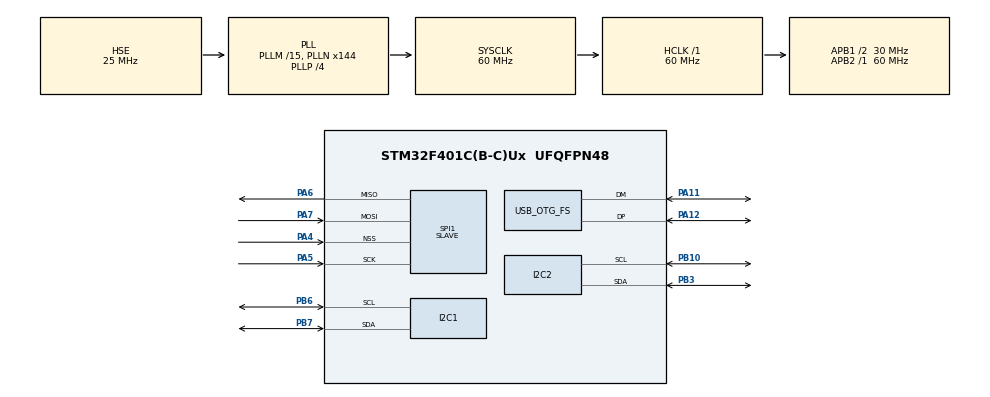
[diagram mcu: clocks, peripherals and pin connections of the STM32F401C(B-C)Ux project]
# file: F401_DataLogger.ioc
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FREERTOS.Tasks01=testTask,24,512,StartTestTask,Default,NULL,Dynamic,NULL,NULL
I2C1.I2C_Mode=I2C_Standard
I2C2.I2C_Mode=I2C_Standard
Mcu.Family=STM32F4
Mcu.Name=STM32F401C(B-C)Ux
Mcu.Package=UFQFPN48
NVIC.OTG_FS_IRQn=true\:5\:0\:false\:false\:true\:true\:false\:true\:true
NVIC.PriorityGroup=NVIC_PRIORITYGROUP_4
NVIC.SPI1_IRQn=true\:5\:0\:false\:false\:true\:true\:true\:true\:true
NVIC.TIM5_IRQn=true\:15\:0\:false\:false\:true\:false\:false\:true\:true
NVIC.TimeBase=TIM5_IRQn
NVIC.TimeBaseIP=TIM5
PA11.Mode=Device_Only
PA11.Signal=USB_OTG_FS_DM
PA12.Mode=Device_Only
PA12.Signal=USB_OTG_FS_DP
PA13.Mode=Serial_Wire
PA13.Signal=SYS_JTMS-SWDIO
PA14.Mode=Serial_Wire
PA14.Signal=SYS_JTCK-SWCLK
PA4.Mode=NSS_Signal_Hard_Input
PA4.Signal=SPI1_NSS
PA5.Mode=Full_Duplex_Slave
PA5.Signal=SPI1_SCK
PA6.Mode=Full_Duplex_Slave
PA6.Signal=SPI1_MISO
PA7.Mode=Full_Duplex_Slave
PA7.Signal=SPI1_MOSI
PB10.Mode=I2C
PB10.Signal=I2C2_SCL
PB3.Mode=I2C
PB3.Signal=I2C2_SDA
PB6.Mode=I2C
PB6.Signal=I2C1_SCL
PB7.Mode=I2C
PB7.Signal=I2C1_SDA
PH0\ -\ OSC_IN.Mode=HSE-External-Oscillator
PH0\ -\ OSC_IN.Signal=RCC_OSC_IN
PH1\ -\ OSC_OUT.Mode=HSE-External-Oscillator
PH1\ -\ OSC_OUT.Signal=RCC_OSC_OUT
ProjectManager.HeapSize=0x200
ProjectManager.StackSize=0x400
ProjectManager.TargetToolchain=Makefile
RCC.48MHZClocksFreq_Value=48000000
RCC.AHBFreq_Value=60000000
RCC.APB1CLKDivider=RCC_HCLK_DIV2
RCC.APB1Freq_Value=30000000
RCC.APB1TimFreq_Value=60000000
RCC.APB2Freq_Value=60000000
RCC.APB2TimFreq_Value=60000000
RCC.CortexFreq_Value=60000000
RCC.HCLKFreq_Value=60000000
RCC.HSE_VALUE=25000000
RCC.HSI_VALUE=16000000
RCC.LSE_VALUE=32768
RCC.PLLM=15
RCC.PLLN=144
RCC.PLLP=RCC_PLLP_DIV4
RCC.PLLQ=5
RCC.SYSCLKFreq_VALUE=60000000
RCC.SYSCLKSource=RCC_SYSCLKSOURCE_PLLCLK
RCC.VCOOutputFreq_Value=240000000
SPI1.Direction=SPI_DIRECTION_2LINES
SPI1.Mode=SPI_MODE_SLAVE
SPI1.VirtualNSS=VM_NSSHARD
SPI1.VirtualType=VM_SLAVE
USB_DEVICE.CLASS_NAME_FS=CDC
USB_DEVICE.VirtualMode=Cdc
USB_DEVICE.VirtualModeFS=Cdc_FS
USB_OTG_FS.VirtualMode=Device_Only
VP_FREERTOS_VS_CMSIS_V2.Mode=CMSIS_V2
VP_SYS_VS_tim5.Mode=TIM5
VP_USB_DEVICE_VS_USB_DEVICE_CDC_FS.Mode=CDC_FS
board=custom

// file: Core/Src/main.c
/* USER CODE BEGIN Header */
/**
  ******************************************************************************
  * @file           : main.c
  * @brief          : MPU6050 + USB CDC + FreeRTOS minimal stable baseline
  ******************************************************************************
  */
/* USER CODE END Header */
#include "main.h"
#include "cmsis_os.h"  //CMSIS-RTOS介面標頭檔
#include "i2c.h"
#include "spi.h"
#include "usb_device.h"
#include "gpio.h"

/* USER CODE BEGIN Includes */
#include <stdio.h>
#include "usbd_core.h" //USB Device 核心層的介面
#include "usbd_cdc_if.h" //USB CDC(Communication Device Class) 類別的使用者介面
#include "mpu6050_driver.h"
/* USER CODE END Includes */

/* USER CODE BEGIN PD */
//板子 LED 是 Active Low
#define TEST_LED_PORT       GPIOC           //GPIO Port C
#define TEST_LED_PIN        GPIO_PIN_13     //GPIO Pin 13 (Test LED)
#define TEST_LED_ON         GPIO_PIN_RESET  //Low  → LED 亮
#define TEST_LED_OFF        GPIO_PIN_SET    //High → LED 熄滅
/* USER CODE END PD */

/* USER CODE BEGIN PV */
//  USB Device 的控制結構型別
extern USBD_HandleTypeDef hUsbDeviceFS;
/* USER CODE END PV */

//設定 STM32 的系統時鐘
void SystemClock_Config(void);
//初始化 FreeRTOS 定義在freertos.c
void MX_FREERTOS_Init(void);
/* USER CODE BEGIN PFP */
//初始化 PC13 LED
static void TestLED_Init(void);
//在 Error_Handler() 裡，讓 LED 閃爍時產生間隔
static void BusyDelay(volatile uint32_t count);
/* USER CODE END PFP */

/* USER CODE BEGIN 0 */

/**
  * @brief  將 printf() 的輸出重新導向到 USB CDC (Virtual COM Port)，讓 printf() 能透過 USB 傳到電腦。
  *
  * 注意事項：
  * - USB 尚未完成枚舉 (Enumeration) 時，不會等待，而是直接丟棄此次輸出。
  * - FreeRTOS Scheduler 已啟動時，若 USB 忙碌 (BUSY)，會使用 osDelay() 在 USB 忙碌時暫時讓出 CPU。
  * - Scheduler 尚未啟動時，不會等待 USB 空閒，以避免系統卡住。
  */
int _write(int file, char *ptr, int len) {
    // 告訴編譯器這個參數我故意不用，不要警告我。
    (void)file;

    //檢查資料是否合法
    if ((ptr == NULL) || (len <= 0)) {
        return 0;
    }

    //檢查 USB 是否已完成連線
    if (hUsbDeviceFS.dev_state != USBD_STATE_CONFIGURED) {
        return len;
    }
    //最多重試 100 次
    for (uint32_t retry = 0U; retry < 100U; retry++) {
      //嘗試透過 USB 傳送
      if (CDC_Transmit_FS((uint8_t *)ptr, (uint16_t)len) == USBD_OK) {
        return len;
      }
      //Scheduler 是否已啟動
      if (osKernelGetState() == osKernelRunning) {
        osDelay(1U);
      } else {
        /*
          * Scheduler 尚未啟動時，不使用 HAL_Delay() 等待，
          * 避免在 RTOS 初始化期間造成阻塞，因此直接放棄此次輸出。
          */
        return len;
      }
    }
    /* 超過重試次數仍無法傳送，直接放棄此次輸出，避免 Task 被卡住。 */
    return len;
}

/**
  * @brief  初始化 PC13 LED
  */
static void TestLED_Init(void) {
  //初始化
  GPIO_InitTypeDef GPIO_InitStruct = {0};
  //開啟 GPIOC 時鐘
  __HAL_RCC_GPIOC_CLK_ENABLE();

  GPIO_InitStruct.Pin = TEST_LED_PIN;
  GPIO_InitStruct.Mode = GPIO_MODE_OUTPUT_PP;   //推挽輸出模式
  GPIO_InitStruct.Pull = GPIO_NOPULL;           //不使用上拉或下拉電阻
  GPIO_InitStruct.Speed = GPIO_SPEED_FREQ_LOW;  //低速率輸出
  //初始化 GPIOC Pin 13 為推挽輸出模式 PC13 以後要當 GPIO 輸出使用
  HAL_GPIO_Init(TEST_LED_PORT, &GPIO_InitStruct);
  //這腳位現輸出什麼電位 現在立刻把 PC13 輸出 High(熄滅)
  HAL_GPIO_WritePin(TEST_LED_PORT, TEST_LED_PIN, TEST_LED_OFF);
}

/**
  * @brief  在 Error_Handler() 裡，讓 LED 閃爍時產生間隔
  */
static void BusyDelay(volatile uint32_t count) {
  while (count > 0U) {
    //不做任何事情的 CPU 指令
      __NOP();
      count--;
  }
}
/* USER CODE END 0 */

int main(void)
{

  /* MCU Configuration--------------------------------------------------------*/

  /* Reset of all peripherals, Initializes the Flash interface and the Systick. */
  HAL_Init();

  /* Configure the system clock */
  SystemClock_Config();

  /* Initialize all configured peripherals */
  MX_GPIO_Init();
  MX_I2C1_Init();
  MX_I2C2_Init();
  MX_SPI1_Init();
  // Initialize USB Device
  MX_USB_DEVICE_Init();
  /* USER CODE BEGIN 2 */
    /*
    * PC13 heartbeat/error LED initialization.
    * Kept in USER CODE so CubeMX regeneration will not remove it.
    */
    TestLED_Init();

    /*
    * Initialize MPU6050 before starting FreeRTOS.
    * Do not print here because USB enumeration may not be complete.
    */
    HAL_StatusTypeDef imu_init_status = MPU6050_Init(&hi2c1);
    if (imu_init_status != HAL_OK)
    {
      printf(
        "MPU6050 init failed: status=%d, i2c_error=0x%08lX\r\n",
        (int)imu_init_status,
        (unsigned long)HAL_I2C_GetError(&hi2c1)
      );

      Error_Handler();
    }
  /* USER CODE END 2 */

  /* Init scheduler */
  osKernelInitialize();   //建立 RTOS
  MX_FREERTOS_Init();     //建立所有 Task

  /* Start scheduler */
  osKernelStart();        //開始執行 Task

  /* We should never get here as control is now taken by the scheduler */

  /* Infinite loop */
  /* USER CODE BEGIN WHILE */
  while (1) {
    /*
    * 到這了代表osKernelStart()啟動是失敗
    */
    Error_Handler();
  }
  /* USER CODE END WHILE */

}

/**
  * @brief  設定 STM32 的系統時鐘
  */
void SystemClock_Config(void)
{
  RCC_OscInitTypeDef RCC_OscInitStruct = {0};
  RCC_ClkInitTypeDef RCC_ClkInitStruct = {0};

  /** Configure the main internal regulator output voltage
  */
  __HAL_RCC_PWR_CLK_ENABLE();
  __HAL_PWR_VOLTAGESCALING_CONFIG(PWR_REGULATOR_VOLTAGE_SCALE2);

  /** Initializes the RCC Oscillators according to the specified parameters
  * in the RCC_OscInitTypeDef structure.
  */
  RCC_OscInitStruct.OscillatorType = RCC_OSCILLATORTYPE_HSE;
  RCC_OscInitStruct.HSEState = RCC_HSE_ON;
  RCC_OscInitStruct.PLL.PLLState = RCC_PLL_ON;
  RCC_OscInitStruct.PLL.PLLSource = RCC_PLLSOURCE_HSE;
  RCC_OscInitStruct.PLL.PLLM = 15;
  RCC_OscInitStruct.PLL.PLLN = 144;
  RCC_OscInitStruct.PLL.PLLP = RCC_PLLP_DIV4;
  RCC_OscInitStruct.PLL.PLLQ = 5;
  if (HAL_RCC_OscConfig(&RCC_OscInitStruct) != HAL_OK)
  {
    Error_Handler();
  }

  /** Initializes the CPU, AHB and APB buses clocks
  */
  RCC_ClkInitStruct.ClockType = RCC_CLOCKTYPE_HCLK|RCC_CLOCKTYPE_SYSCLK
                              |RCC_CLOCKTYPE_PCLK1|RCC_CLOCKTYPE_PCLK2;
  RCC_ClkInitStruct.SYSCLKSource = RCC_SYSCLKSOURCE_PLLCLK;
  RCC_ClkInitStruct.AHBCLKDivider = RCC_SYSCLK_DIV1;
  RCC_ClkInitStruct.APB1CLKDivider = RCC_HCLK_DIV2;
  RCC_ClkInitStruct.APB2CLKDivider = RCC_HCLK_DIV1;

  if (HAL_RCC_ClockConfig(&RCC_ClkInitStruct, FLASH_LATENCY_1) != HAL_OK)
  {
    Error_Handler();
  }
}

//如果是 TIM5 的更新中斷，就呼叫 HAL_IncTick() 提供 HAL 的時間基準
void HAL_TIM_PeriodElapsedCallback(TIM_HandleTypeDef *htim)
{
  if (htim->Instance == TIM5)
  {
    HAL_IncTick();
  }
}

void Error_Handler(void)
{
  /* USER CODE BEGIN Error_Handler_Debug */

    GPIO_InitTypeDef GPIO_InitStruct = {0};

    __HAL_RCC_GPIOC_CLK_ENABLE();

    GPIO_InitStruct.Pin = TEST_LED_PIN;
    GPIO_InitStruct.Mode = GPIO_MODE_OUTPUT_PP;
    GPIO_InitStruct.Pull = GPIO_NOPULL;
    GPIO_InitStruct.Speed = GPIO_SPEED_FREQ_LOW;

    HAL_GPIO_Init(TEST_LED_PORT, &GPIO_InitStruct);

    while (1) {
      //把目前 GPIO 的狀態反轉（Toggle）。
      HAL_GPIO_TogglePin(TEST_LED_PORT, TEST_LED_PIN);
      BusyDelay(1500000U);
    }
  /* USER CODE END Error_Handler_Debug */
}
#ifdef USE_FULL_ASSERT
/**
  * @brief  Reports the name of the source file and the source line number
  *         where the assert_param error has occurred.
  * @param  file: pointer to the source file name
  * @param  line: assert_param error line source number
  * @retval None
  */
void assert_failed(uint8_t *file, uint32_t line)
{
  /* USER CODE BEGIN 6 */
    (void)file;
    (void)line;

    Error_Handler();
  /* USER CODE END 6 */
}
#endif /* USE_FULL_ASSERT */

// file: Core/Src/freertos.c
/* USER CODE BEGIN Header */
/**
  ******************************************************************************
  * File Name          : freertos.c
  * Description        : Minimal MPU6050 FreeRTOS task
  ******************************************************************************
  */
/* USER CODE END Header */

#include "FreeRTOS.h"
#include "task.h"
#include "main.h"
#include "cmsis_os.h"

/* USER CODE BEGIN Includes */
#include <stdio.h>
#include <string.h>
#include "i2c.h"
#include "spi.h"
#include "mpu6050_driver.h"
#include "system_packet.h"
/* USER CODE END Includes */

/* USER CODE BEGIN PD */
#define TEST_LED_PORT       GPIOC
#define TEST_LED_PIN        GPIO_PIN_13

#define PI_COMMAND_NONE          0x00U  //Raspberry Pi 傳給 STM32 的簡單命令。
#define PI_COMMAND_LED_PULSE     0x02U  //0x02U是 Raspberry Pi 傳給 STM32 的簡單命令，代表要讓 STM32 的 LED 亮起一段時間。

#define TEST_LED_PULSE_MS        200U   // LED 亮起的時間長度，單位為毫秒
#define TEST_LED_ON_STATE        GPIO_PIN_RESET  // Low  → LED 亮
#define TEST_LED_OFF_STATE       GPIO_PIN_SET    // High → LED 熄滅

#define MPU_SAMPLE_PERIOD_MS    10U   // 每 10 ms(100 Hz) 讀一次 MPU6050
#define MPU_LOG_EVERY_SAMPLES   100U  // 每讀 100 筆資料(1 Hz) 才印一次 Log
/* USER CODE END PD */

/* USER CODE BEGIN Variables */
uint8_t spi_rx_buf[SYSTEM_PACKET_SIZE] = {0};           //SPI 接收資料的緩衝區

static SystemDataPacketV0 packet_working = {0};         //SPI 接收資料的工作區，會被更新成最新的資料
static SystemDataPacketV0 packet_snapshot = {0};        //SPI 接收資料的快照區，會被鎖定成一個穩定的資料集，供 SPI 傳輸使用

volatile uint8_t spi_txrx_done = 0;                     //SPI 傳輸完成旗標，ISR 會設為 1，Task 會在下一個週期處理
volatile uint8_t spi_error_seen = 0U;                   //SPI 傳輸錯誤旗標，ISR 會設為 1，Task 會在下一個週期處理
volatile uint32_t spi_error_code = HAL_SPI_ERROR_NONE;  //SPI 傳輸錯誤碼，ISR 會設為錯誤碼，Task 會在下一個週期處理
volatile uint32_t spi_complete_count = 0U;              //SPI 傳輸完成次數，ISR 會每次完成時加 1，Task 會在下一個週期處理
volatile uint8_t spi_recovery_needed = 0U;              //SPI 傳輸錯誤需要復原旗標，Task 會在下一個週期處理
/* USER CODE END Variables */
/* Definitions for testTask */
osThreadId_t testTaskHandle;
const osThreadAttr_t testTask_attributes = {
  .name = "testTask",
  .stack_size = 512 * 4,  //配置2KB的Stack 給這個 Task
  .priority = (osPriority_t) osPriorityNormal,
};

/* USER CODE BEGIN FunctionPrototypes */
static HAL_StatusTypeDef SPI_StartTransfer(void);
static void SystemPacket_PublishSnapshot(void);
/* USER CODE END FunctionPrototypes */

void StartTestTask(void *argument);
void MX_FREERTOS_Init(void); /* (MISRA C 2004 rule 8.1) */

void MX_FREERTOS_Init(void) {

  /* Create the thread(s) */
  /* creation of testTask */
  testTaskHandle = osThreadNew(StartTestTask, NULL, &testTask_attributes);

  /* USER CODE BEGIN RTOS_THREADS */
  if (testTaskHandle == NULL) {
    Error_Handler();
  }
  /* USER CODE END RTOS_THREADS */

}

void StartTestTask(void *argument)
{
  /* USER CODE BEGIN StartTestTask */

    (void)argument;

    MPU6050_Data accel = {0};
    MPU6050_Data gyro = {0};

    //採樣次數計數器
    uint32_t sampleCount = 0U;
    //LED 計時狀態
    uint8_t led_pulse_active = 0U;
    uint32_t led_off_tick = 0U;

    //把 MPU6050 的 10 ms 採樣週期換算成 FreeRTOS 的 Tick
    const TickType_t samplePeriod =
        pdMS_TO_TICKS(MPU_SAMPLE_PERIOD_MS);

    // 2 秒的延遲，讓 Windows 有時間辨識 STM32 的 USB 虛擬序列埠。
    osDelay(2000U);

    packet_working.magic = SYSTEM_PACKET_MAGIC;
    packet_working.version = SYSTEM_PACKET_VERSION;
    packet_working.header_size = SYSTEM_PACKET_HEADER_SIZE;
    packet_working.packet_size = SYSTEM_PACKET_SIZE;

    //用SPI發送給樹梅派前 先進行一次快照 避免傳送過程中資料被更新
    SystemPacket_PublishSnapshot();
    // 若 SPI 啟動失敗，不會觸發完成 Callback。
    // 因此手動設回完成旗標，讓 Task 下一輪重新嘗試啟動 SPI，避免系統誤以為 SPI 一直忙碌而無法再次啟動。
    if (SPI_StartTransfer() != HAL_OK)
    {
        spi_txrx_done = 1U;
    }

    printf("\r\nStartTestTask started.\r\n");
    printf("MPU6050 sampling: 100 Hz, USB log: 1 Hz\r\n");

    //再把「現在」設成週期排程起點
    TickType_t xLastWakeTime = xTaskGetTickCount();

    for (;;) {
      //SPI 發生錯誤時，先將 SPI 狀態復原

      if (spi_recovery_needed != 0U)
      {
        //中止 SPI1 目前未完成或卡住的傳輸，並讓 HAL 的 SPI 狀態恢復
        //成功 Abort 後，交給正常重新掛載流程處理。
        if (HAL_SPI_Abort(&hspi1) == HAL_OK)
        {
            spi_recovery_needed = 0U;
            //要求下方正常流程重新建立 snapshot 並重新掛載 SPI。
            spi_txrx_done = 1U;
        }
      }

      // 優先處理已完成的 SPI 傳輸，盡快準備下一次 Raspberry Pi 讀取。
      //一般完成或錯誤恢復成功後，重新掛載 SPI。
      if ((spi_recovery_needed == 0U) && (spi_txrx_done != 0U))
      {
          /*
          * 先消耗這次 SPI 完成事件。
          */
          spi_txrx_done = 0U;

          /*
          * SPI 是全雙工。
          * STM32 傳送 packet_snapshot 給 Pi 的同時，
          * Pi 傳送的資料會進入 spi_rx_buf。
          *
          * 目前只使用第一個 byte 作為簡單命令。
          */
          uint8_t pi_command = spi_rx_buf[0];

          /*
          * 讀取後立即清除，避免錯誤復原流程重新處理舊命令。
          */
          spi_rx_buf[0] = PI_COMMAND_NONE;

          if (pi_command == PI_COMMAND_LED_PULSE)
          {
              /*
              * 立即點亮 LED，並記錄預定熄滅時間。
              */
              HAL_GPIO_WritePin(
                  TEST_LED_PORT,
                  TEST_LED_PIN,
                  TEST_LED_ON_STATE
              );

              led_pulse_active = 1U;
              led_off_tick = HAL_GetTick() + TEST_LED_PULSE_MS;
          }

          /*
          * 準備下一次傳送給 Raspberry Pi 的感測資料。
          */
          SystemPacket_PublishSnapshot();

          /*
          * 重新掛載下一次 SPI 全雙工傳輸。
          */
          if (SPI_StartTransfer() != HAL_OK)
          {
              spi_txrx_done = 1U;
          }
      }

      /*
      * LED 亮滿指定時間後自動熄滅。
      *
      * 使用相減方式判斷，可正確處理 HAL_GetTick()
      */
      if ((led_pulse_active != 0U) &&
          ((int32_t)(HAL_GetTick() - led_off_tick) >= 0))
      {
          HAL_GPIO_WritePin(
              TEST_LED_PORT,
              TEST_LED_PIN,
              TEST_LED_OFF_STATE
          );

          led_pulse_active = 0U;
      }

      //透過 I2C1 讀取 MPU6050
      HAL_StatusTypeDef imu_status =MPU6050_ReadAll(&hi2c1, &accel, &gyro);

      packet_working.sequence++;
      packet_working.timestamp_ms = HAL_GetTick();

      if (imu_status == HAL_OK) {
          packet_working.accel_x_raw = accel.raw_x;
          packet_working.accel_y_raw = accel.raw_y;
          packet_working.accel_z_raw = accel.raw_z;

          packet_working.gyro_x_raw = gyro.raw_x;
          packet_working.gyro_y_raw = gyro.raw_y;
          packet_working.gyro_z_raw = gyro.raw_z;

          packet_working.sensor_status |= SENSOR_STATUS_IMU_VALID;
      }else {
          /*
          * 不更新 accel/gyro，所以封包保留上一筆有效資料。
          */
          packet_working.sensor_status &= ~SENSOR_STATUS_IMU_VALID;
          packet_working.system_flags |= SYSTEM_FLAG_I2C_ERROR;
          packet_working.i2c_error_count++;
      }

      sampleCount++;
      // 每讀 100 筆資料(1 Hz) 才印一次 Log
      if (sampleCount >= MPU_LOG_EVERY_SAMPLES)
      {
        sampleCount = 0U;

        /* One-second heartbeat. */
        //HAL_GPIO_TogglePin(TEST_LED_PORT, TEST_LED_PIN);

        // printf(
        //     "Acc(g): X=%.2f Y=%.2f Z=%.2f | "
        //     "Gyr(dps): X=%.1f Y=%.1f Z=%.1f\r\n",
        //     accel.x,
        //     accel.y,
        //     accel.z,
        //     gyro.x,
        //     gyro.y,
        //     gyro.z
        // );

        printf(
            "SPI complete=%lu | state=%d | error=0x%08lX\r\n",
            (unsigned long)spi_complete_count,
            (int)HAL_SPI_GetState(&hspi1),
            (unsigned long)HAL_SPI_GetError(&hspi1)
        );
      }

      if (spi_error_seen != 0U)
      {
        uint32_t error = spi_error_code;

        spi_error_seen = 0U;

        printf(
            "SPI ERROR: 0x%08lX\r\n",
            (unsigned long)error
        );
      }
      // xLastWakeTime 上一次喚醒的基準時間
      // samplePeriod每次間隔多少 Tick，讓 StartTestTask 按照 固定節奏執行
      vTaskDelayUntil(&xLastWakeTime, samplePeriod);
    }
  /* USER CODE END StartTestTask */
}

/* USER CODE BEGIN Application */

/**
  * @brief  開始一次 SPI 傳輸
  */
static HAL_StatusTypeDef SPI_StartTransfer(void)
{
    HAL_StatusTypeDef status;
    //非阻塞 啟動一次 SPI 全雙工傳輸
    status = HAL_SPI_TransmitReceive_IT(
        &hspi1,
        (uint8_t *)&packet_snapshot,
        spi_rx_buf,
        SYSTEM_PACKET_SIZE
    );

    if (status != HAL_OK)
    {
        printf(
            "SPI TxRx start failed: status=%d state=%d error=0x%08lX\r\n",
            (int)status,
            (int)HAL_SPI_GetState(&hspi1),
            (unsigned long)HAL_SPI_GetError(&hspi1)
        );
    }

    return status;
}

/**
  * @brief  用來更新目前的 System Packet 資料(snapshot)
  */
static void SystemPacket_PublishSnapshot(void)
{
    memcpy(
        &packet_snapshot,
        &packet_working,
        sizeof(packet_snapshot)
    );

    packet_snapshot.checksum32 = SystemPacket_CalcChecksum32(&packet_snapshot);
}

/**
  * @brief  SPI 全雙工收發完成時，由 HAL 自動呼叫。
  */
void HAL_SPI_TxRxCpltCallback(SPI_HandleTypeDef *hspi)
{
    if (hspi->Instance == SPI1) {
        spi_complete_count++;
        spi_txrx_done = 1U;
    }
}

/**
  * @brief  SPI 傳輸期間發生錯誤時，由 HAL 自動呼叫。
  */
void HAL_SPI_ErrorCallback(SPI_HandleTypeDef *hspi)
{
    if (hspi->Instance == SPI1)
    {
        spi_error_code = HAL_SPI_GetError(hspi);
        spi_error_seen = 1U;
        spi_recovery_needed = 1U;
    }
}
/* USER CODE END Application */
